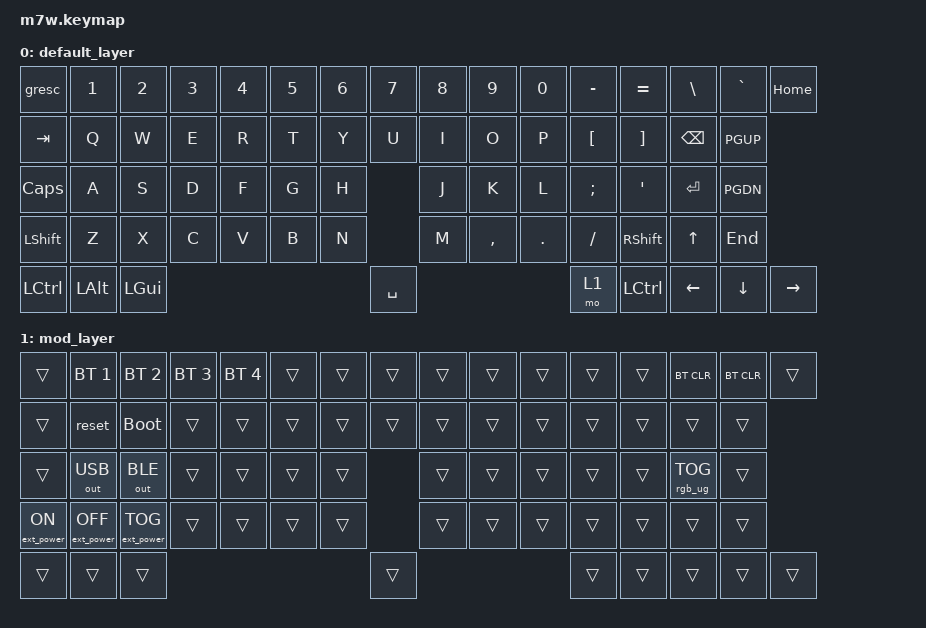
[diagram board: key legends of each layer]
/*
 * Copyright (c) 2021 Nick Winans
 *
 * SPDX-License-Identifier: MIT
 */

#include <behaviors.dtsi>
#include <dt-bindings/zmk/keys.h>
#include <dt-bindings/zmk/rgb.h>
#include <dt-bindings/zmk/bt.h>
#include <dt-bindings/zmk/outputs.h>
#include <dt-bindings/zmk/ext_power.h>

/ {
  keymap {
    compatible = "zmk,keymap";
    
    default_layer {
      bindings = <
        &gresc     &kp N1   &kp N2   &kp N3   &kp N4   &kp N5   &kp N6   &kp N7   &kp N8     &kp N9   &kp N0    &kp MINUS  &kp EQUAL  &kp BSLH  &kp GRAVE &kp HOME
        &kp TAB    &kp Q    &kp W    &kp E    &kp R    &kp T    &kp Y    &kp U    &kp I      &kp O    &kp P     &kp LBKT   &kp RBKT       &kp BSPC  &kp PGUP
        &kp CLCK   &kp A    &kp S  &kp D    &kp F    &kp G    &kp H    &kp J    &kp K      &kp L    &kp SEMI  &kp SQT           &kp RET     &kp PGDN              
        &kp LSHFT  &kp Z    &kp X    &kp C    &kp V    &kp B    &kp N    &kp M    &kp COMMA  &kp DOT  &kp FSLH            &kp RSHFT   &kp UP    &kp END
        &kp LCTRL  &kp LALT &kp LGUI                                  &kp SPACE                               &mo 1   &kp LCTRL  &kp LEFT &kp DOWN  &kp RIGHT
      >;
    };

    
    mod_layer {
        // ----------------------------------------------------------------------------------------------------------------
        // |        |    | BT 1|BT 2 |BT 3 |BT 4 |     |     |     |     |     |     |     |     |BT CLR |         |
        // |        |    | RST | BOOT|     |     |     |     |     |     |     |     |     |     |       |         |
        // |        |    | USB | BLE |     |     |     |     |     |     |     |     |     |     |RGB TOG|         |
        // |        |    |EP_ON|EP_OFF|EP_TOG|     |     |     |     |     |     |     |     |     |       |         |
        // |        |    |     |     |                                               |     |     |       |         |
        // ----------------------------------------------------------------------------------------------------------------
      bindings = <
        &trans  &bt BT_SEL 1  &bt BT_SEL 2   &bt BT_SEL 3  &bt BT_SEL 4   &trans   &trans    &trans   &trans    &trans   &trans    &trans   &trans   &bt BT_CLR   &bt BT_CLR      &trans    
        &trans  &reset     &bootloader   &trans    &trans    &trans   &trans   &trans   &trans   &trans   &trans   &trans   &trans   &trans    &trans 
        &trans  &out OUT_USB   &out OUT_BLE    &trans   &trans    &trans   &trans    &trans   &trans    &trans   &trans    &trans            &rgb_ug RGB_TOG          &trans   
        &ext_power EP_ON  &ext_power EP_OFF   &ext_power EP_TOG    &trans   &trans    &trans   &trans    &trans   &trans    &trans   &trans                       &trans   &trans        &trans  
        &trans   &trans   &trans                                   &trans                                         &trans   &trans     &trans   &trans   &trans 
      >;
    };
    
  };
};
